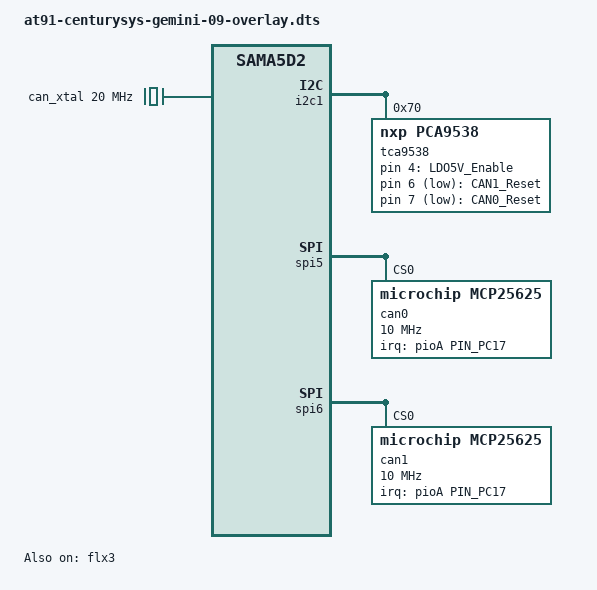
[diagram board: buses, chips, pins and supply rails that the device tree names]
// SPDX-License-Identifier: (GPL-2.0+ OR MIT)
/*
 * at91-centurysys-gemini-09-overlay.dts - Device Tree Overlay file (xio_id: 0x09)
 *                                           for Century Systems Gemini board
 *
 *  Copyright (C) 2023 Century Systems
 *                     Takeyoshi Kikuchi <kikuchi@centurysys.co.jp>
 */

/dts-v1/;
/plugin/;
#include "sama5d2-pinfunc.h"
#include <dt-bindings/mfd/atmel-flexcom.h>
#include <dt-bindings/gpio/gpio.h>
#include <dt-bindings/interrupt-controller/irq.h>
#include <dt-bindings/pinctrl/at91.h>
#include <dt-bindings/regulator/active-semi,8945a-regulator.h>

/ {
	compatible = "atmel,sama5d2-gemini", "atmel,sama5d2", "atmel,sama5";

	fragment@0 {
		target-path = "/clocks";
		__overlay__ {
			can_xtal: can_xtal {
				compatible = "fixed-clock";
				#clock-cells = <0>;
				clock-frequency = <20000000>;
			};
		};
	};

	fragment@1 {
		target = <&pioA>;
		__overlay__ {
			pinctrl_flx3_spi_default: flx3_spi_default {
				clk {
					pinmux = <PIN_PC18__FLEXCOM3_IO2>;
					atmel,drive-strength = <ATMEL_PIO_DRVSTR_ME>;
					bias-disable;
				};

				data {
					pinmux = <PIN_PC19__FLEXCOM3_IO1>,
						 <PIN_PC20__FLEXCOM3_IO0>,
						 <PIN_PC21__FLEXCOM3_IO3>,
						 <PIN_PC22__FLEXCOM3_IO4>;
					atmel,drive-strength = <ATMEL_PIO_DRVSTR_LO>;
					bias-disable;
				};
			};
		};
	};

	fragment@2 {
		target = <&i2c1>;
		__overlay__ {
			#address-cells = <1>;
			#size-cells = <0>;

			tca9538: tca9538@70 {
				compatible = "nxp,pca9538";
				reg = <0x70>;
				#address-cells = <1>;
				#size-cells = <0>;
				#gpio-cells = <2>;

				gpio-line-names = "Reserved0",
						  "Reserved1",
						  "Reserved2",
						  "Reserved3",
						  "LDO5V_EN",
						  "Reserved5",
						  "CAN1_Reset",
						  "CAN0_Reset";
			};
		};
	};

	fragment@3 {
		target = <&flx3>;
		__overlay__ {
			atmel,flexcom-mode = <ATMEL_FLEXCOM_MODE_SPI>;
			status = "okay";
		};
	};

	fragment@4 {
		target = <&spi5>;
		__overlay__ {
			pinctrl-names = "default";
			pinctrl-0 = <&pinctrl_flx3_spi_default>;
			status = "okay";
			#address-cells = <1>;
			#size-cells = <0>;

			can0: can@0 {
				compatible = "microchip,mcp25625";
				reg = <0>;
				clocks = <&can_xtal>;
				spi-max-frequency = <10000000>;
				#gpio-cells = <2>;
				interrupt-parent = <&pioA>;
				interrupts = <PIN_PC17 IRQ_TYPE_LEVEL_LOW>;
			};
		};
	};

	fragment@5 {
		target = <&spi6>;
		__overlay__ {
			status = "okay";
			#address-cells = <1>;
			#size-cells = <0>;

			can1: can@0 {
				compatible = "microchip,mcp25625";
				reg = <0>;
				clocks = <&can_xtal>;
				spi-max-frequency = <10000000>;
				#gpio-cells = <2>;
				interrupt-parent = <&pioA>;
				interrupts = <PIN_PC17 IRQ_TYPE_LEVEL_LOW>;
			};
		};
	};

	fragment@6 {
		target = <&leds>;
		__overlay__ {
			ldo5v_en {
				label = "LDO5V_Enable";
				gpios = <&tca9538 4 GPIO_ACTIVE_HIGH>;
				default-state = "on";
			};

			can1_reset {
				label = "CAN1_Reset";
				gpios = <&tca9538 6 GPIO_ACTIVE_LOW>;
				linux,default-trigger = "oneshot";
			};

			can0_reset {
				label = "CAN0_Reset";
				gpios = <&tca9538 7 GPIO_ACTIVE_LOW>;
				linux,default-trigger = "oneshot";
			};
		};
	};
};
